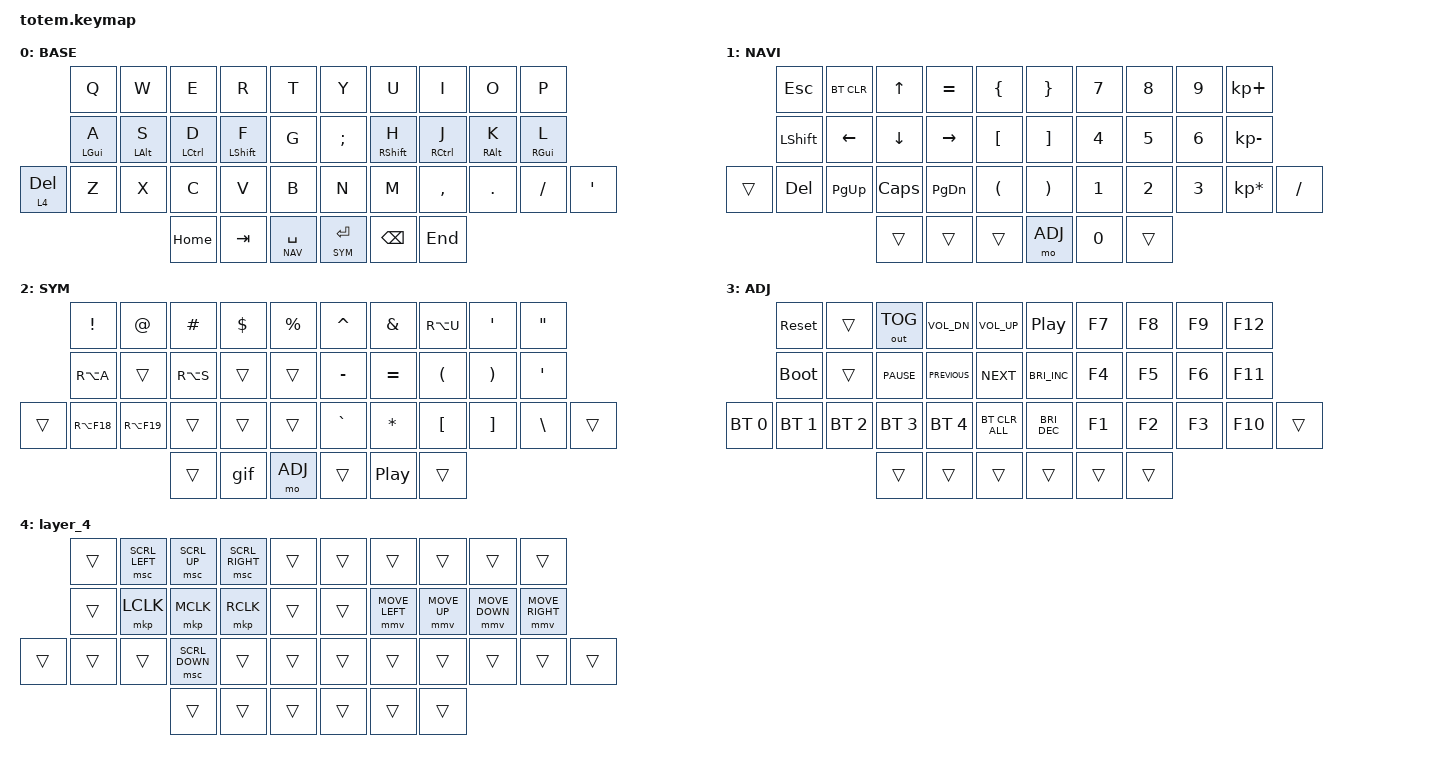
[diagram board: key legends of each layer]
//
//                                                        ▀▀▀▀▀     ▀▀▀▀▀          ▀▀█▀▀
//                                                        ▄▀▀▀▄  ▄  ▄▀▀▀▄  ▄  ▄▀▀▀▄  █  ▄▀▀▀▄
//                                                        █   █  █  █   █  █  █   █  █  █   █
//                                                         ▀▀▀   █   ▀▀▀   █   ▀▀▀   ▀   ▀▀▀
//                                                               █      ▄▄▄█▄▄▄    █   █  
//                                                               ▀      █  █  █     █▄█
//                                                             ▀▀▀▀▀    █  █  █      ▀
//                                                                      ▀  ▀  ▀
//
// ▄▄▄▄▄▄▄▄▄▄▄▄▄▄▄▄▄▄▄▄▄▄▄▄▄▄▄▄▄▄▄▄▄▄▄▄▄▄▄▄▄▄▄▄▄▄▄▄▄▄▄▄▄▄▄▄▄▄▄▄▄▄▄▄▄▄▄▄▄▄▄▄▄▄▄▄▄▄▄▄▄▄▄▄▄▄▄▄▄▄▄▄▄▄▄▄▄▄▄▄▄▄▄▄▄▄▄▄▄▄▄▄▄▄▄▄▄▄▄▄▄▄▄▄▄▄▄▄▄▄▄▄▄▄▄▄▄▄▄▄▄▄▄▄▄▄▄▄▄

#include <behaviors.dtsi>
#include <dt-bindings/zmk/bt.h>
#include <dt-bindings/zmk/keys.h>
#include <dt-bindings/zmk/outputs.h>
#include <dt-bindings/zmk/pointing.h>

#define BASE 0
#define NAV  1
#define SYM  2
#define ADJ  3

&mt {
    quick-tap-ms = <100>;
    global-quick-tap;
    flavor = "tap-preferred";
    tapping-term-ms = <170>;
};

/ {
    combos {
        compatible = "zmk,combos";

        combo_esc {
            timeout-ms = <50>;
            key-positions = <0 1>;
            bindings = <&kp ESC>;
        };
    };

    macros {
        gif: gif {
            label = "giphy";
            compatible = "zmk,behavior-macro";
            #binding-cells = <0>;
            bindings =
                <&macro_press>,
                <&kp LSHFT>,
                <&macro_tap>,
                <&kp N2>,
                <&macro_release>,
                <&kp LSHFT>,
                <&macro_tap>,
                <&kp G &kp I &kp F>;
        };
    };

    keymap {
        compatible = "zmk,keymap";

        // ▄▄▄▄▄▄▄▄▄▄▄▄▄▄▄▄▄▄▄▄▄▄▄▄▄▄▄▄▄▄▄▄▄▄▄▄▄▄▄▄▄▄▄▄▄▄▄▄▄▄▄▄▄▄▄▄▄▄▄▄▄▄▄▄▄▄▄▄▄▄▄▄▄▄▄▄▄▄▄▄▄▄▄▄▄▄▄▄▄▄▄▄▄▄▄▄▄▄▄▄▄▄▄▄▄▄▄▄▄▄▄▄▄▄▄▄▄▄▄▄▄▄▄▄▄▄▄▄▄▄▄▄▄▄▄▄▄▄▄▄▄▄▄▄▄▄▄▄▄

        base_layer {
            // ┏━━━━━━━━━━━━━━━━━━━━━━━━━━━━━━━━━━━━━━━┓

            label = "BASE";

            // ┗━━━━━━━━━━━━━━━━━━━━━━━━━━━━━━━━━━━━━━━┛
            //             ┏━━━━━━━━━━━┳━━━━━━━━━━━┳━━━━━━━━━━━┳━━━━━━━━━━━┳━━━━━━━━━━━┓   ┏━━━━━━━━━━━┳━━━━━━━━━━━┳━━━━━━━━━━━┳━━━━━━━━━━━┳━━━━━━━━━━━┓
            //             ┃     Q     ┃     W     ┃     F     ┃     P     ┃     G     ┃   ┃     J     ┃     L     ┃     U     ┃     Y     ┃     ;     ┃
            //             ┣━━━━━━━━━━━╋━━━━━━━━━━━╋━━━━━━━━━━━╋━━━━━━━━━━━╋━━━━━━━━━━━┫   ┣━━━━━━━━━━━╋━━━━━━━━━━━╋━━━━━━━━━━━╋━━━━━━━━━━━╋━━━━━━━━━━━┫
            //             ┃     A     ┃     R     ┃     S     ┃     T     ┃     D     ┃   ┃     H     ┃     N     ┃     E     ┃     I     ┃     O     ┃
            // ┏━━━━━━━━━━━╋━━━━━━━━━━━╋━━━━━━━━━━━╋━━━━━━━━━━━╋━━━━━━━━━━━╋━━━━━━━━━━━┫   ┣━━━━━━━━━━━╋━━━━━━━━━━━╋━━━━━━━━━━━╋━━━━━━━━━━━╋━━━━━━━━━━━╋━━━━━━━━━━━┓
            // ┃           ┃     Z     ┃     X     ┃     C     ┃     V     ┃     B     ┃   ┃     K     ┃     M     ┃     ,     ┃     .     ┃     /     ┃           ┃
            // ┗━━━━━━━━━━━┻━━━━━━━━━━━┻━━━━━━━━━━━╋━━━━━━━━━━━╋━━━━━━━━━━━╋━━━━━━━━━━━┫   ┣━━━━━━━━━━━╋━━━━━━━━━━━╋━━━━━━━━━━━╋━━━━━━━━━━━┻━━━━━━━━━━━┻━━━━━━━━━━━┛
            //                                     ┃           ┃    TAB    ┃    SPC    ┃   ┃   ENTER   ┃   BSPC    ┃           ┃
            //                                     ┗━━━━━━━━━━━┻━━━━━━━━━━━┻━━━━━━━━━━━┛   ┗━━━━━━━━━━━┻━━━━━━━━━━━┻━━━━━━━━━━━┛

            bindings = <
              &kp Q       &kp W       &kp E        &kp R        &kp T            &kp Y        &kp U        &kp I        &kp O       &kp P
              &mt LGUI A  &mt LALT S  &mt LCTRL D  &mt LSHFT F  &kp G            &kp SEMI     &mt RSHFT H  &mt RCTRL J  &mt RALT K  &mt RGUI L
&lt 4 DELETE  &kp Z       &kp X       &kp C        &kp V        &kp B            &kp N        &kp M        &kp COMMA    &kp DOT     &kp SLASH   &kp APOS
                                      &kp HOME     &kp TAB      &lt NAV SPACE    &lt SYM RET  &kp BSPC     &kp END
            >;
        };

        // ▄▄▄▄▄▄▄▄▄▄▄▄▄▄▄▄▄▄▄▄▄▄▄▄▄▄▄▄▄▄▄▄▄▄▄▄▄▄▄▄▄▄▄▄▄▄▄▄▄▄▄▄▄▄▄▄▄▄▄▄▄▄▄▄▄▄▄▄▄▄▄▄▄▄▄▄▄▄▄▄▄▄▄▄▄▄▄▄▄▄▄▄▄▄▄▄▄▄▄▄▄▄▄▄▄▄▄▄▄▄▄▄▄▄▄▄▄▄▄▄▄▄▄▄▄▄▄▄▄▄▄▄▄▄▄▄▄▄▄▄▄▄▄▄▄▄▄▄▄

        nav_layer {
            // ┏━━━━━━━━━━━━━━━━━━━━━━━━━━━━━━━━━━━━━━━┓

            label = "NAVI";

            // ┗━━━━━━━━━━━━━━━━━━━━━━━━━━━━━━━━━━━━━━━┛
            //             ┏━━━━━━━━━━━┳━━━━━━━━━━━┳━━━━━━━━━━━┳━━━━━━━━━━━┳━━━━━━━━━━━┓   ┏━━━━━━━━━━━┳━━━━━━━━━━━┳━━━━━━━━━━━┳━━━━━━━━━━━┳━━━━━━━━━━━┓
            //             ┃           ┃           ┃     UP    ┃           ┃     {     ┃   ┃     }     ┃     7     ┃     8     ┃     9     ┃     +     ┃
            //             ┣━━━━━━━━━━━╋━━━━━━━━━━━╋━━━━━━━━━━━╋━━━━━━━━━━━╋━━━━━━━━━━━┫   ┣━━━━━━━━━━━╋━━━━━━━━━━━╋━━━━━━━━━━━╋━━━━━━━━━━━╋━━━━━━━━━━━┫
            //             ┃   SHIFT   ┃   LEFT    ┃    DOWN   ┃   RIGHT   ┃     [     ┃   ┃     ]     ┃     4     ┃     5     ┃     6     ┃     -     ┃
            // ┏━━━━━━━━━━━╋━━━━━━━━━━━╋━━━━━━━━━━━╋━━━━━━━━━━━╋━━━━━━━━━━━╋━━━━━━━━━━━┫   ┣━━━━━━━━━━━╋━━━━━━━━━━━╋━━━━━━━━━━━╋━━━━━━━━━━━╋━━━━━━━━━━━╋━━━━━━━━━━━┓
            // ┃           ┃           ┃   P UP    ┃  C LOCK   ┃  P DOWN   ┃     (     ┃   ┃     )     ┃     1     ┃     2     ┃     3     ┃     *     ┃           ┃
            // ┗━━━━━━━━━━━┻━━━━━━━━━━━┻━━━━━━━━━━━╋━━━━━━━━━━━╋━━━━━━━━━━━╋━━━━━━━━━━━┫   ┣━━━━━━━━━━━╋━━━━━━━━━━━╋━━━━━━━━━━━╋━━━━━━━━━━━┻━━━━━━━━━━━┻━━━━━━━━━━━┛
            //                                     ┃           ┃    TAB    ┃    SPC    ┃   ┃    DEL    ┃     0     ┃           ┃
            //                                     ┗━━━━━━━━━━━┻━━━━━━━━━━━┻━━━━━━━━━━━┛   ┗━━━━━━━━━━━┻━━━━━━━━━━━┻━━━━━━━━━━━┛

            bindings = <
        &kp ESC    &bt BT_CLR  &kp UP    &kp EQUAL  &kp LBRC    &kp RBRC  &kp N7        &kp N8        &kp N9        &kp KP_PLUS
        &kp LSHFT  &kp LEFT    &kp DOWN  &kp RIGHT  &kp LBKT    &kp RBKT  &kp NUMBER_4  &kp N5        &kp NUMBER_6  &kp KP_MINUS
&trans  &kp DEL    &kp PG_UP   &kp CAPS  &kp PG_DN  &kp LPAR    &kp RPAR  &kp NUMBER_1  &kp NUMBER_2  &kp NUMBER_3  &kp KP_MULTIPLY  &kp SLASH
                               &trans    &trans     &trans      &mo ADJ   &kp N0        &trans
            >;
        };

        // ▄▄▄▄▄▄▄▄▄▄▄▄▄▄▄▄▄▄▄▄▄▄▄▄▄▄▄▄▄▄▄▄▄▄▄▄▄▄▄▄▄▄▄▄▄▄▄▄▄▄▄▄▄▄▄▄▄▄▄▄▄▄▄▄▄▄▄▄▄▄▄▄▄▄▄▄▄▄▄▄▄▄▄▄▄▄▄▄▄▄▄▄▄▄▄▄▄▄▄▄▄▄▄▄▄▄▄▄▄▄▄▄▄▄▄▄▄▄▄▄▄▄▄▄▄▄▄▄▄▄▄▄▄▄▄▄▄▄▄▄▄▄▄▄▄▄▄▄▄

        sim_layer {
            // ┏━━━━━━━━━━━━━━━━━━━━━━━━━━━━━━━━━━━━━━━┓

            label = "SYM";

            // ┗━━━━━━━━━━━━━━━━━━━━━━━━━━━━━━━━━━━━━━━┛
            //             ┏━━━━━━━━━━━┳━━━━━━━━━━━┳━━━━━━━━━━━┳━━━━━━━━━━━┳━━━━━━━━━━━┓   ┏━━━━━━━━━━━┳━━━━━━━━━━━┳━━━━━━━━━━━┳━━━━━━━━━━━┳━━━━━━━━━━━┓
            //             ┃     !     ┃     @     ┃     #     ┃     $     ┃     %     ┃   ┃     ˆ     ┃     &     ┃     Ü     ┃     '     ┃     "     ┃
            //             ┣━━━━━━━━━━━╋━━━━━━━━━━━╋━━━━━━━━━━━╋━━━━━━━━━━━╋━━━━━━━━━━━┫   ┣━━━━━━━━━━━╋━━━━━━━━━━━╋━━━━━━━━━━━╋━━━━━━━━━━━╋━━━━━━━━━━━┫
            //             ┃     Ä     ┃           ┃    SZ     ┃           ┃           ┃   ┃   MUTE    ┃   YEN     ┃   EURO    ┃  POUND    ┃     Ö     ┃
            // ┏━━━━━━━━━━━╋━━━━━━━━━━━╋━━━━━━━━━━━╋━━━━━━━━━━━╋━━━━━━━━━━━╋━━━━━━━━━━━┫   ┣━━━━━━━━━━━╋━━━━━━━━━━━╋━━━━━━━━━━━╋━━━━━━━━━━━╋━━━━━━━━━━━╋━━━━━━━━━━━┓
            // ┃           ┃  EMAIL1   ┃  EMAIL2   ┃           ┃           ┃           ┃   ┃   VOL-    ┃   VOL+    ┃   LAST    ┃   NEXT    ┃     \     ┃           ┃
            // ┗━━━━━━━━━━━┻━━━━━━━━━━━┻━━━━━━━━━━━╋━━━━━━━━━━━╋━━━━━━━━━━━╋━━━━━━━━━━━┫   ┣━━━━━━━━━━━╋━━━━━━━━━━━╋━━━━━━━━━━━╋━━━━━━━━━━━┻━━━━━━━━━━━┻━━━━━━━━━━━┛
            //                                     ┃           ┃    GIF    ┃    ADJ    ┃   ┃           ┃           ┃           ┃
            //                                     ┗━━━━━━━━━━━┻━━━━━━━━━━━┻━━━━━━━━━━━┛   ┗━━━━━━━━━━━┻━━━━━━━━━━━┻━━━━━━━━━━━┛

            bindings = <
        &kp EXCL     &kp AT       &kp HASH   &kp DLLR  &kp PRCNT    &kp CARET  &kp AMPS      &kp RA(U)             &kp SQT                &kp DQT
        &kp RA(A)    &trans       &kp RA(S)  &trans    &trans       &kp MINUS  &kp EQUAL     &kp LEFT_PARENTHESIS  &kp RIGHT_PARENTHESIS  &kp SINGLE_QUOTE
&trans  &kp RA(F18)  &kp RA(F19)  &trans     &trans    &trans       &kp GRAVE  &kp ASTERISK  &kp LEFT_BRACKET      &kp RIGHT_BRACKET      &kp BSLH          &trans
                                  &trans     &gif      &mo ADJ      &trans     &kp C_PP      &trans
            >;
        };

        // ▄▄▄▄▄▄▄▄▄▄▄▄▄▄▄▄▄▄▄▄▄▄▄▄▄▄▄▄▄▄▄▄▄▄▄▄▄▄▄▄▄▄▄▄▄▄▄▄▄▄▄▄▄▄▄▄▄▄▄▄▄▄▄▄▄▄▄▄▄▄▄▄▄▄▄▄▄▄▄▄▄▄▄▄▄▄▄▄▄▄▄▄▄▄▄▄▄▄▄▄▄▄▄▄▄▄▄▄▄▄▄▄▄▄▄▄▄▄▄▄▄▄▄▄▄▄▄▄▄▄▄▄▄▄▄▄▄▄▄▄▄▄▄▄▄▄▄▄▄

        adjust_layer {
            // ┏━━━━━━━━━━━━━━━━━━━━━━━━━━━━━━━━━━━━━━━┓

            label = "ADJ";

            // ┗━━━━━━━━━━━━━━━━━━━━━━━━━━━━━━━━━━━━━━━┛
            //             ┏━━━━━━━━━━━┳━━━━━━━━━━━┳━━━━━━━━━━━┳━━━━━━━━━━━┳━━━━━━━━━━━┓   ┏━━━━━━━━━━━┳━━━━━━━━━━━┳━━━━━━━━━━━┳━━━━━━━━━━━┳━━━━━━━━━━━┓
            //             ┃   RESET   ┃ BT CLEAR  ┃  OUT TOG  ┃           ┃           ┃   ┃           ┃    F7     ┃    F8     ┃    F9     ┃    F12    ┃
            //             ┣━━━━━━━━━━━╋━━━━━━━━━━━╋━━━━━━━━━━━╋━━━━━━━━━━━╋━━━━━━━━━━━┫   ┣━━━━━━━━━━━╋━━━━━━━━━━━╋━━━━━━━━━━━╋━━━━━━━━━━━╋━━━━━━━━━━━┫
            //             ┃ BOOTLOAD  ┃ BT NEXT   ┃           ┃           ┃           ┃   ┃           ┃    F4     ┃    F5     ┃    F6     ┃    F11    ┃
            // ┏━━━━━━━━━━━╋━━━━━━━━━━━╋━━━━━━━━━━━╋━━━━━━━━━━━╋━━━━━━━━━━━╋━━━━━━━━━━━┫   ┣━━━━━━━━━━━╋━━━━━━━━━━━╋━━━━━━━━━━━╋━━━━━━━━━━━╋━━━━━━━━━━━╋━━━━━━━━━━━┓
            // ┃           ┃           ┃ BT PREV   ┃           ┃           ┃           ┃   ┃           ┃    F1     ┃    F2     ┃    F3     ┃    F10    ┃           ┃
            // ┗━━━━━━━━━━━┻━━━━━━━━━━━┻━━━━━━━━━━━╋━━━━━━━━━━━╋━━━━━━━━━━━╋━━━━━━━━━━━┫   ┣━━━━━━━━━━━╋━━━━━━━━━━━╋━━━━━━━━━━━╋━━━━━━━━━━━┻━━━━━━━━━━━┻━━━━━━━━━━━┛
            //                                     ┃           ┃           ┃           ┃   ┃           ┃           ┃           ┃
            //                                     ┗━━━━━━━━━━━┻━━━━━━━━━━━┻━━━━━━━━━━━┛   ┗━━━━━━━━━━━┻━━━━━━━━━━━┻━━━━━━━━━━━┛

            bindings = <
              &sys_reset    &trans        &out OUT_TOG  &kp C_VOL_DN    &kp C_VOL_UP      &kp C_PLAY_PAUSE      &kp F7  &kp F8  &kp F9  &kp F12
              &bootloader   &trans        &kp C_PAUSE   &kp C_PREVIOUS  &kp C_NEXT        &kp C_BRIGHTNESS_INC  &kp F4  &kp F5  &kp F6  &kp F11
&bt BT_SEL 0  &bt BT_SEL 1  &bt BT_SEL 2  &bt BT_SEL 3  &bt BT_SEL 4    &bt BT_CLR_ALL    &kp C_BRIGHTNESS_DEC  &kp F1  &kp F2  &kp F3  &kp F10  &trans
                                          &trans        &trans          &trans            &trans                &trans  &trans
            >;
        };

        layer_4 {
            bindings = <
        &trans  &msc SCRL_LEFT  &msc SCRL_UP    &msc SCRL_RIGHT  &trans    &trans  &trans          &trans        &trans          &trans
        &trans  &mkp LCLK       &mkp MCLK       &mkp RCLK        &trans    &trans  &mmv MOVE_LEFT  &mmv MOVE_UP  &mmv MOVE_DOWN  &mmv MOVE_RIGHT
&trans  &trans  &trans          &msc SCRL_DOWN  &trans           &trans    &trans  &trans          &trans        &trans          &trans           &trans
                                &trans          &trans           &trans    &trans  &trans          &trans
            >;
        };
    };
};
